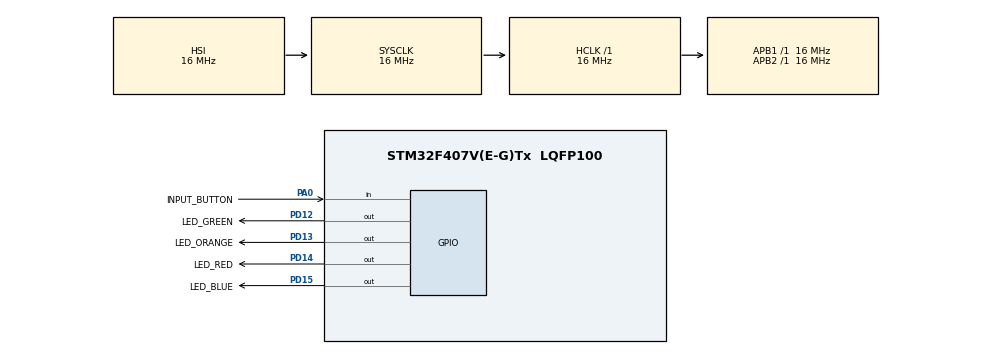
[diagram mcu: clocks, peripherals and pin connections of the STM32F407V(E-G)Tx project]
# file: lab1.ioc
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Mcu.Family=STM32F4
Mcu.Name=STM32F407V(E-G)Tx
Mcu.Package=LQFP100
NVIC.PriorityGroup=NVIC_PRIORITYGROUP_4
PA0-WKUP.GPIO_Label=INPUT_BUTTON
PA0-WKUP.Signal=GPIO_Input
PA13.Mode=Serial_Wire
PA13.Signal=SYS_JTMS-SWDIO
PA14.Mode=Serial_Wire
PA14.Signal=SYS_JTCK-SWCLK
PD12.GPIO_Label=LED_GREEN
PD12.Signal=GPIO_Output
PD13.GPIO_Label=LED_ORANGE
PD13.Signal=GPIO_Output
PD14.GPIO_Label=LED_RED
PD14.Signal=GPIO_Output
PD15.GPIO_Label=LED_BLUE
PD15.Signal=GPIO_Output
ProjectManager.HeapSize=0x200
ProjectManager.StackSize=0x400
ProjectManager.TargetToolchain=SW4STM32
RCC.AHBFreq_Value=16000000
RCC.APB1Freq_Value=16000000
RCC.APB2Freq_Value=16000000
RCC.CortexFreq_Value=16000000
RCC.HSE_VALUE=25000000
RCC.HSI_VALUE=16000000
RCC.LSE_VALUE=32768
RCC.SYSCLKFreq_VALUE=16000000
RCC.VCOOutputFreq_Value=192000000
board=custom

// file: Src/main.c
/**
 ******************************************************************************
 * @file           : main.c
 * @brief          : Main program body
 ******************************************************************************
 ** This notice applies to any and all portions of this file
 * that are not between comment pairs USER CODE BEGIN and
 * USER CODE END. Other portions of this file, whether
 * inserted by the user or by software development tools
 * are owned by their respective copyright owners.
 *
 * COPYRIGHT(c) 2018 STMicroelectronics
 *
 * Redistribution and use in source and binary forms, with or without modification,
 * are permitted provided that the following conditions are met:
 *   1. Redistributions of source code must retain the above copyright notice,
 *      this list of conditions and the following disclaimer.
 *   2. Redistributions in binary form must reproduce the above copyright notice,
 *      this list of conditions and the following disclaimer in the documentation
 *      and/or other materials provided with the distribution.
 *   3. Neither the name of STMicroelectronics nor the names of its contributors
 *      may be used to endorse or promote products derived from this software
 *      without specific prior written permission.
 *
 * THIS SOFTWARE IS PROVIDED BY THE COPYRIGHT HOLDERS AND CONTRIBUTORS "AS IS"
 * AND ANY EXPRESS OR IMPLIED WARRANTIES, INCLUDING, BUT NOT LIMITED TO, THE
 * IMPLIED WARRANTIES OF MERCHANTABILITY AND FITNESS FOR A PARTICULAR PURPOSE ARE
 * DISCLAIMED. IN NO EVENT SHALL THE COPYRIGHT HOLDER OR CONTRIBUTORS BE LIABLE
 * FOR ANY DIRECT, INDIRECT, INCIDENTAL, SPECIAL, EXEMPLARY, OR CONSEQUENTIAL
 * DAMAGES (INCLUDING, BUT NOT LIMITED TO, PROCUREMENT OF SUBSTITUTE GOODS OR
 * SERVICES; LOSS OF USE, DATA, OR PROFITS; OR BUSINESS INTERRUPTION) HOWEVER
 * CAUSED AND ON ANY THEORY OF LIABILITY, WHETHER IN CONTRACT, STRICT LIABILITY,
 * OR TORT (INCLUDING NEGLIGENCE OR OTHERWISE) ARISING IN ANY WAY OUT OF THE USE
 * OF THIS SOFTWARE, EVEN IF ADVISED OF THE POSSIBILITY OF SUCH DAMAGE.
 *
 ******************************************************************************
 */
#include "main.h"
#include "stm32f4xx_hal.h"

/* USER CODE BEGIN PV */
/* Private variables ---------------------------------------------------------*/

/* USER CODE END PV */

void SystemClock_Config(void);
static void MX_GPIO_Init(void);

/* USER CODE BEGIN PFP */
/* Private function prototypes -----------------------------------------------*/

/* USER CODE END PFP */

/* USER CODE BEGIN 0 */
#pragma clang diagnostic push
#pragma clang diagnostic ignored "-Wmissing-noreturn"
/* USER CODE END 0 */

int main(void) {

    /* MCU Configuration----------------------------------------------------------*/

    /* Reset of all peripherals, Initializes the Flash interface and the Systick. */
    HAL_Init();

    /* Configure the system clock */
    SystemClock_Config();

    /* Initialize all configured peripherals */
    MX_GPIO_Init();
    /* USER CODE BEGIN 2 */
    HAL_GPIO_WritePin(LED_RED_GPIO_Port, LED_RED_Pin, GPIO_PIN_RESET);
    HAL_GPIO_WritePin(LED_GREEN_GPIO_Port, LED_GREEN_Pin, GPIO_PIN_RESET);
    HAL_GPIO_WritePin(LED_BLUE_GPIO_Port, LED_BLUE_Pin, GPIO_PIN_RESET);
    HAL_GPIO_WritePin(LED_ORANGE_GPIO_Port, LED_ORANGE_Pin, GPIO_PIN_RESET);
    /* USER CODE END 2 */

    /* Infinite loop */
    while (1) {

        /* USER CODE BEGIN 3 */
        int status = HAL_GPIO_ReadPin(GPIOA, GPIO_PIN_0);
        if (status == GPIO_PIN_SET) {
            HAL_GPIO_WritePin(LED_RED_GPIO_Port, LED_RED_Pin, GPIO_PIN_SET);
            HAL_Delay(100);
            HAL_GPIO_WritePin(LED_RED_GPIO_Port, LED_RED_Pin, GPIO_PIN_RESET);
            HAL_GPIO_WritePin(LED_BLUE_GPIO_Port, LED_BLUE_Pin, GPIO_PIN_SET);
            HAL_Delay(100);
            HAL_GPIO_WritePin(LED_BLUE_GPIO_Port, LED_BLUE_Pin, GPIO_PIN_RESET);
            HAL_GPIO_WritePin(LED_GREEN_GPIO_Port, LED_GREEN_Pin, GPIO_PIN_SET);
            HAL_Delay(100);
            HAL_GPIO_WritePin(LED_ORANGE_GPIO_Port, LED_ORANGE_Pin,
                    GPIO_PIN_SET);
            HAL_GPIO_WritePin(LED_GREEN_GPIO_Port, LED_GREEN_Pin,
                    GPIO_PIN_RESET);
            HAL_Delay(100);
            HAL_GPIO_WritePin(LED_ORANGE_GPIO_Port, LED_ORANGE_Pin,
                    GPIO_PIN_RESET);
        } else {
            HAL_GPIO_WritePin(LED_RED_GPIO_Port, LED_RED_Pin, GPIO_PIN_SET);
            HAL_GPIO_WritePin(LED_GREEN_GPIO_Port, LED_GREEN_Pin, GPIO_PIN_SET);
            HAL_Delay(500);
            HAL_GPIO_WritePin(LED_RED_GPIO_Port, LED_RED_Pin, GPIO_PIN_RESET);
            HAL_GPIO_WritePin(LED_GREEN_GPIO_Port, LED_GREEN_Pin,
                    GPIO_PIN_RESET);
            HAL_GPIO_WritePin(LED_BLUE_GPIO_Port, LED_BLUE_Pin, GPIO_PIN_SET);
            HAL_GPIO_WritePin(LED_ORANGE_GPIO_Port, LED_ORANGE_Pin,
                    GPIO_PIN_SET);
            HAL_Delay(500);
            HAL_GPIO_WritePin(LED_ORANGE_GPIO_Port, LED_ORANGE_Pin,
                    GPIO_PIN_RESET);
            HAL_GPIO_WritePin(LED_BLUE_GPIO_Port, LED_BLUE_Pin, GPIO_PIN_RESET);
        }
    }
    /* USER CODE END 3 */

}

void SystemClock_Config(void) {

    RCC_OscInitTypeDef RCC_OscInitStruct;
    RCC_ClkInitTypeDef RCC_ClkInitStruct;

    /**Configure the main internal regulator output voltage
     */
    __HAL_RCC_PWR_CLK_ENABLE()
    ;

    __HAL_PWR_VOLTAGESCALING_CONFIG(PWR_REGULATOR_VOLTAGE_SCALE1);

    /**Initializes the CPU, AHB and APB busses clocks
     */
    RCC_OscInitStruct.OscillatorType = RCC_OSCILLATORTYPE_HSI;
    RCC_OscInitStruct.HSIState = RCC_HSI_ON;
    RCC_OscInitStruct.HSICalibrationValue = 16;
    RCC_OscInitStruct.PLL.PLLState = RCC_PLL_NONE;
    if (HAL_RCC_OscConfig(&RCC_OscInitStruct) != HAL_OK) {
        _Error_Handler(__FILE__, __LINE__);
    }

    /**Initializes the CPU, AHB and APB busses clocks
     */
    RCC_ClkInitStruct.ClockType = RCC_CLOCKTYPE_HCLK | RCC_CLOCKTYPE_SYSCLK
            | RCC_CLOCKTYPE_PCLK1 | RCC_CLOCKTYPE_PCLK2;
    RCC_ClkInitStruct.SYSCLKSource = RCC_SYSCLKSOURCE_HSI;
    RCC_ClkInitStruct.AHBCLKDivider = RCC_SYSCLK_DIV1;
    RCC_ClkInitStruct.APB1CLKDivider = RCC_HCLK_DIV1;
    RCC_ClkInitStruct.APB2CLKDivider = RCC_HCLK_DIV1;

    if (HAL_RCC_ClockConfig(&RCC_ClkInitStruct, FLASH_LATENCY_0) != HAL_OK) {
        _Error_Handler(__FILE__, __LINE__);
    }

    /**Configure the Systick interrupt time
     */
    HAL_SYSTICK_Config(HAL_RCC_GetHCLKFreq() / 1000);

    /**Configure the Systick
     */
    HAL_SYSTICK_CLKSourceConfig(SYSTICK_CLKSOURCE_HCLK);

    /* SysTick_IRQn interrupt configuration */
    HAL_NVIC_SetPriority(SysTick_IRQn, 0, 0);
}

/** Configure pins as
 * Analog
 * Input
 * Output
 * EVENT_OUT
 * EXTI
 */
static void MX_GPIO_Init(void) {

    GPIO_InitTypeDef GPIO_InitStruct;

    /* GPIO Ports Clock Enable */
    __HAL_RCC_GPIOA_CLK_ENABLE()
    ;
    __HAL_RCC_GPIOD_CLK_ENABLE()
    ;

    /*Configure GPIO pin Output Level */
    HAL_GPIO_WritePin(GPIOD,
            LED_GREEN_Pin | LED_ORANGE_Pin | LED_RED_Pin | LED_BLUE_Pin,
            GPIO_PIN_RESET);

    /*Configure GPIO pin : INPUT_BUTTON_Pin */
    GPIO_InitStruct.Pin = INPUT_BUTTON_Pin;
    GPIO_InitStruct.Mode = GPIO_MODE_INPUT;
    GPIO_InitStruct.Pull = GPIO_NOPULL;
    HAL_GPIO_Init(INPUT_BUTTON_GPIO_Port, &GPIO_InitStruct);

    /*Configure GPIO pins : LED_GREEN_Pin LED_ORANGE_Pin LED_RED_Pin LED_BLUE_Pin */
    GPIO_InitStruct.Pin = LED_GREEN_Pin | LED_ORANGE_Pin | LED_RED_Pin
            | LED_BLUE_Pin;
    GPIO_InitStruct.Mode = GPIO_MODE_OUTPUT_PP;
    GPIO_InitStruct.Pull = GPIO_NOPULL;
    GPIO_InitStruct.Speed = GPIO_SPEED_FREQ_LOW;
    HAL_GPIO_Init(GPIOD, &GPIO_InitStruct);

}

void _Error_Handler(char *file, int line) {
    while (1) {
    }
}

/************************ (C) COPYRIGHT STMicroelectronics *****END OF FILE****/
